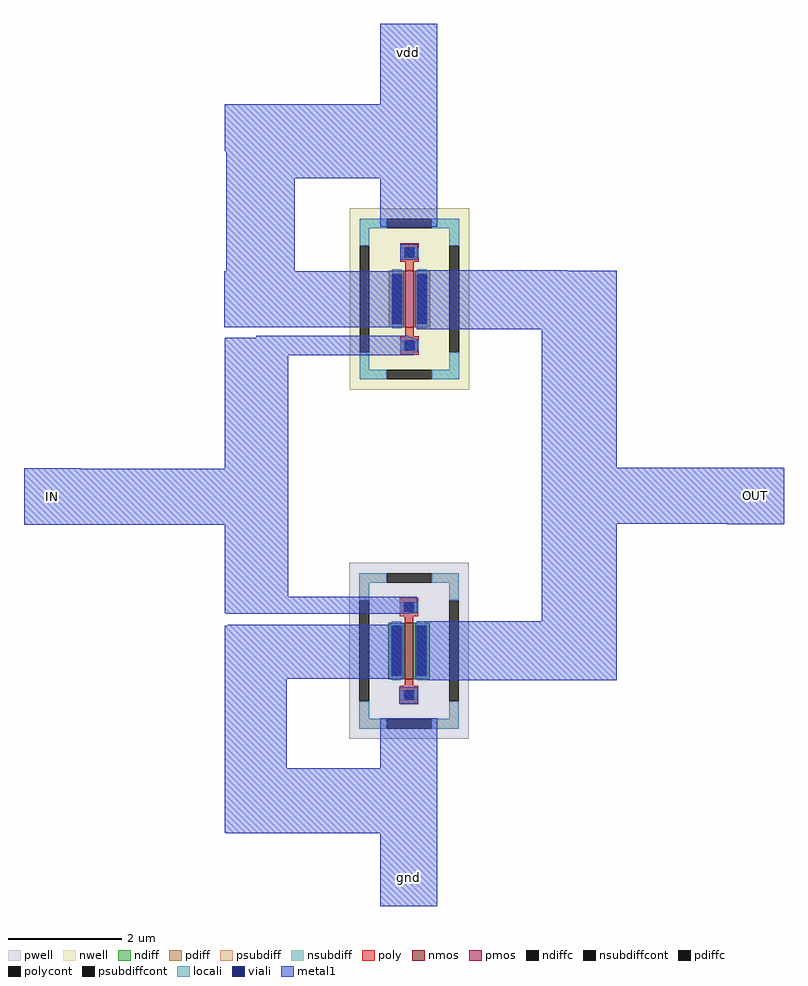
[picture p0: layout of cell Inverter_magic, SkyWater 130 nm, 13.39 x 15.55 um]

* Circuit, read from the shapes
.subckt Inverter_magic vdd OUT IN gnd
XM1 OUT IN gnd VSUBS sky130_fd_pr__nfet_01v8 w=1 l=0.15
XM2 OUT IN vdd n1 sky130_fd_pr__pfet_01v8 w=1 l=0.15
.ends

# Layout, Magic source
magic
tech sky130A
magscale 1 2
<< metal1 >>
rect 56 1552 256 1836
rect -492 1386 256 1552
rect -488 1292 256 1386
rect -488 964 -246 1292
rect 56 1120 256 1292
rect 126 1006 188 1058
rect 126 1004 186 1006
rect 184 966 716 968
rect -494 766 138 964
rect 184 760 888 966
rect -382 732 156 736
rect -382 730 172 732
rect -492 668 172 730
rect -1200 268 -1000 270
rect -492 268 -268 668
rect -1200 70 -268 268
rect -492 -184 -268 70
rect 624 272 888 760
rect 624 74 1478 272
rect -492 -240 184 -184
rect -492 -242 158 -240
rect -486 -244 158 -242
rect 624 -270 888 74
rect 1278 72 1478 74
rect -482 -286 130 -282
rect -492 -472 130 -286
rect 186 -468 888 -270
rect -492 -788 -274 -472
rect 216 -478 888 -468
rect 122 -560 188 -502
rect 56 -788 256 -612
rect -492 -1014 256 -788
rect -488 -1016 256 -1014
rect 56 -1274 256 -1016
use sky130_fd_pr__nfet_01v8_648S5X  XNMOS
transform 1 0 157 0 1 -374
box -211 -310 211 310
use sky130_fd_pr__pfet_01v8_XGS3BL  XPMOS
transform 1 0 158 0 1 866
box -211 -319 211 319
<< labels >>
flabel metal1 56 1636 256 1836 0 FreeSans 256 0 0 0 vdd
port 0 nsew
flabel metal1 56 -1274 256 -1074 0 FreeSans 256 0 0 0 gnd
port 3 nsew
flabel metal1 1278 72 1478 272 0 FreeSans 256 0 0 0 OUT
port 1 nsew
flabel metal1 -1200 70 -1000 270 0 FreeSans 256 0 0 0 IN
port 2 nsew
<< end >>

# cell sky130_fd_pr__nfet_01v8_648S5X: kit device sky130_fd_pr__nfet_01v8, w 1.0 l 0.15 m 1 nf 1 diffcov 100 polycov 100 guard 1 glc 1 grc 1 gtc 1 gbc 1 tbcov 100 rlcov 100 topc 1 botc 1 poverlap 0 doverlap 1 lmin 0.15 wmin 0.42 compatible {sky130_fd_pr__nfet_01v8 sky130_fd_pr__nfet_01v8_lvt sky130_fd_bs_flash__special_sonosfet_star sky130_fd_pr__nfet_g5v0d10v5 sky130_fd_pr__nfet_05v0_nvt sky130_fd_pr__nfet_03v3_nvt} full_metal 1 viasrc 100 viadrn 100 viagate 100 viagb 0 viagr 0 viagl 0 viagt 0

# cell sky130_fd_pr__pfet_01v8_XGS3BL: kit device sky130_fd_pr__pfet_01v8, w 1.0 l 0.15 m 1 nf 1 diffcov 100 polycov 100 guard 1 glc 1 grc 1 gtc 1 gbc 1 tbcov 100 rlcov 100 topc 1 botc 1 poverlap 0 doverlap 1 lmin 0.15 wmin 0.42 compatible {sky130_fd_pr__pfet_01v8 sky130_fd_pr__pfet_01v8_lvt sky130_fd_pr__pfet_01v8_hvt sky130_fd_pr__pfet_g5v0d10v5} full_metal 1 viasrc 100 viadrn 100 viagate 100 viagb 0 viagr 0 viagl 0 viagt 0
